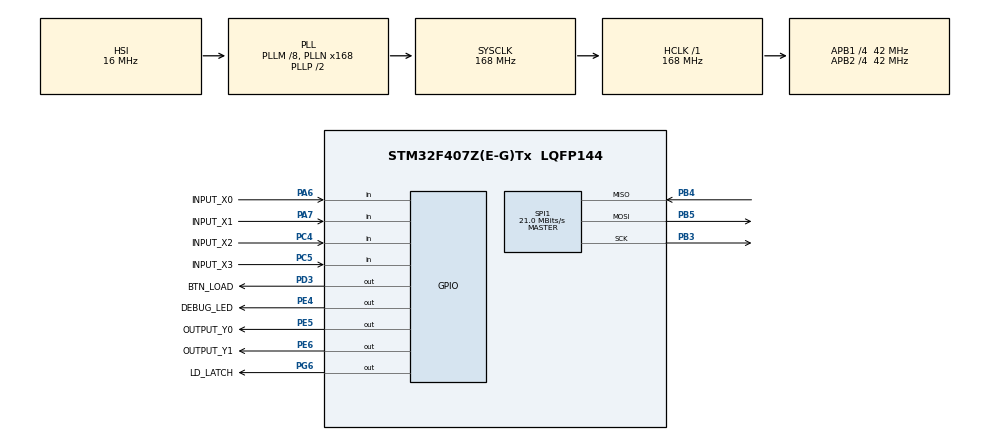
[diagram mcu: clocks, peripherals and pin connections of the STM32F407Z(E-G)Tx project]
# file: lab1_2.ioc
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Mcu.Family=STM32F4
Mcu.Name=STM32F407Z(E-G)Tx
Mcu.Package=LQFP144
NVIC.PriorityGroup=NVIC_PRIORITYGROUP_4
NVIC.TIM2_IRQn=true\:0\:0\:false\:false\:true\:true\:true
PA13.Mode=Serial_Wire
PA13.Signal=SYS_JTMS-SWDIO
PA14.Mode=Serial_Wire
PA14.Signal=SYS_JTCK-SWCLK
PA6.GPIO_Label=INPUT_X0
PA6.Signal=GPIO_Input
PA7.GPIO_Label=INPUT_X1
PA7.Signal=GPIO_Input
PB3.Mode=Full_Duplex_Master
PB3.Signal=SPI1_SCK
PB4.Mode=Full_Duplex_Master
PB4.Signal=SPI1_MISO
PB5.Mode=Full_Duplex_Master
PB5.Signal=SPI1_MOSI
PC4.GPIO_Label=INPUT_X2
PC4.Signal=GPIO_Input
PC5.GPIO_Label=INPUT_X3
PC5.Signal=GPIO_Input
PD3.GPIO_Label=BTN_LOAD
PD3.Signal=GPIO_Output
PE4.GPIO_Label=DEBUG_LED
PE4.Signal=GPIO_Output
PE5.GPIO_Label=OUTPUT_Y0
PE5.Signal=GPIO_Output
PE6.GPIO_Label=OUTPUT_Y1
PE6.Signal=GPIO_Output
PG6.GPIO_Label=LD_LATCH
PG6.Signal=GPIO_Output
PH0-OSC_IN.Mode=HSE-External-Oscillator
PH0-OSC_IN.Signal=RCC_OSC_IN
PH1-OSC_OUT.Mode=HSE-External-Oscillator
PH1-OSC_OUT.Signal=RCC_OSC_OUT
ProjectManager.HeapSize=0x200
ProjectManager.StackSize=0x400
ProjectManager.TargetToolchain=STM32CubeIDE
RCC.48MHZClocksFreq_Value=84000000
RCC.AHBFreq_Value=168000000
RCC.APB1CLKDivider=RCC_HCLK_DIV4
RCC.APB1Freq_Value=42000000
RCC.APB1TimFreq_Value=84000000
RCC.APB2CLKDivider=RCC_HCLK_DIV4
RCC.APB2Freq_Value=42000000
RCC.APB2TimFreq_Value=84000000
RCC.CortexFreq_Value=168000000
RCC.HCLKFreq_Value=168000000
RCC.HSE_VALUE=8000000
RCC.HSI_VALUE=16000000
RCC.LSE_VALUE=32768
RCC.PLLM=8
RCC.PLLN=168
RCC.SYSCLKFreq_VALUE=168000000
RCC.SYSCLKSource=RCC_SYSCLKSOURCE_PLLCLK
RCC.VCOOutputFreq_Value=336000000
SPI1.CalculateBaudRate=21.0 MBits/s
SPI1.Direction=SPI_DIRECTION_2LINES
SPI1.Mode=SPI_MODE_MASTER
SPI1.VirtualType=VM_MASTER
TIM2.Period=100-1
TIM2.Prescaler=840-1
VP_TIM2_VS_ClockSourceINT.Mode=Internal
board=custom

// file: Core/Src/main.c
/* USER CODE BEGIN Header */
/**
  ******************************************************************************
  * @file           : main.c
  * @brief          : Main program body
  ******************************************************************************
  * @attention
  *
  * <h2><center>&copy; Copyright (c) 2024 STMicroelectronics.
  * All rights reserved.</center></h2>
  *
  * This software component is licensed by ST under BSD 3-Clause license,
  * the "License"; You may not use this file except in compliance with the
  * License. You may obtain a copy of the License at:
  *                        opensource.org/licenses/BSD-3-Clause
  *
  ******************************************************************************
  */
/* USER CODE END Header */
#include "main.h"

/* USER CODE BEGIN Includes */
#include "software_timer.h"
#include "led7.h"
#include "spi.h"
#include "gpio.h"
#include "tim.h"
/* USER CODE END Includes */

/* USER CODE BEGIN PD */
#define ON 1
#define OFF 2
#define RED 3
#define GREEN 4
#define YELLOW 5
/* USER CODE END PD */

SPI_HandleTypeDef hspi1;

TIM_HandleTypeDef htim2;

void SystemClock_Config(void);

/* USER CODE BEGIN 0 */
int c0 = 0;
int c1 = 0;
int c2 = 0;
int cnt = 0;
int colon = 0;
int state = 0;

int time_counter = 1430;
uint8_t count_clock = 0;
uint8_t blink_counter = 0;
int hour = 0;
int minute = 0;

uint8_t state_y0;
uint8_t state_y1;
uint8_t traffic_light;

void debug_led(){
	c0 = (c0 + 1)%40;
	if (c0==0){
		HAL_GPIO_TogglePin(DEBUG_LED_GPIO_Port, DEBUG_LED_Pin);
	}
}

void led_y0(){
	switch(state_y0){
	case ON:
		c1 = (c1+1)%40;
		if (c1==0){
			state_y0 = OFF;
			HAL_GPIO_TogglePin(OUTPUT_Y0_GPIO_Port, OUTPUT_Y0_Pin);
		}
		break;
	case OFF:
		c1 = (c1 + 1)%80;
		if (c1==0){
			state_y0 = ON;
			HAL_GPIO_TogglePin(OUTPUT_Y0_GPIO_Port, OUTPUT_Y0_Pin);
		}break;
	default:
		c1=0;
		state_y0 = OFF;
		break;
	}
}
void led_y1(){
	switch(state_y1){
	case ON:
		c2 = (c2+1)%100;
		if (c2<=0){
			state_y1 = OFF;
			HAL_GPIO_TogglePin(OUTPUT_Y1_GPIO_Port, OUTPUT_Y1_Pin);
		}
		break;
	case OFF:
		c2 = (c2+1)%20;
		if (c2==0){
			state_y1 = ON;
			HAL_GPIO_TogglePin(OUTPUT_Y1_GPIO_Port, OUTPUT_Y1_Pin);

		}break;
	default:
		c2=0;
		state_y1 = OFF;
		break;
	}
}

void q1(){
	debug_led();
	led_y0();
	led_y1();
}

void q2(){
	switch(traffic_light){
	case RED:
		cnt = (cnt+1)%100;
		if (cnt == 0){
			traffic_light = GREEN;
			HAL_GPIO_TogglePin(DEBUG_LED_GPIO_Port, DEBUG_LED_Pin);	//red off
			HAL_GPIO_TogglePin(OUTPUT_Y0_GPIO_Port, OUTPUT_Y0_Pin); //green on
		}break;
	case GREEN:
		cnt = (cnt+1)%60;
		if (cnt == 0){
			traffic_light = YELLOW;
			HAL_GPIO_TogglePin(OUTPUT_Y0_GPIO_Port, OUTPUT_Y0_Pin); //green off
			HAL_GPIO_TogglePin(OUTPUT_Y1_GPIO_Port, OUTPUT_Y1_Pin); //y on
		}break;
	case YELLOW:
		cnt = (cnt+1)%20;
		if (cnt == 0){
			traffic_light = RED;
			HAL_GPIO_TogglePin(OUTPUT_Y1_GPIO_Port, OUTPUT_Y1_Pin);
			HAL_GPIO_TogglePin(DEBUG_LED_GPIO_Port, DEBUG_LED_Pin);
		}break;
	default:
		HAL_GPIO_WritePin(DEBUG_LED_GPIO_Port, DEBUG_LED_Pin, 1);
		HAL_GPIO_WritePin(OUTPUT_Y0_GPIO_Port, OUTPUT_Y0_Pin, 0);
		HAL_GPIO_WritePin(OUTPUT_Y1_GPIO_Port, OUTPUT_Y1_Pin, 0);
		traffic_light = RED;
		break;
	}

}

void colong(){
	colon = (colon+ 1)%10;
	if(colon==0) {
		led7_SetColon(state^=1);
	}
}

void q4(){
	count_clock = (count_clock+ 1)%(1000/50);
	if(count_clock == 0){
		time_counter++;
		time_counter %= 1440;
		minute = time_counter%60;
		hour = time_counter/60;
		led7_SetDigit(minute%10, 3, 0);
		led7_SetDigit(minute/10, 2, 0);
		led7_SetDigit(hour%10, 1, 0);
		led7_SetDigit(hour/10, 0, 0);
	}
	colong();
}
/* USER CODE END 0 */

int main(void)
{

  /* MCU Configuration--------------------------------------------------------*/

  /* Reset of all peripherals, Initializes the Flash interface and the Systick. */
  HAL_Init();

  /* Configure the system clock */
  SystemClock_Config();

  /* Initialize all configured peripherals */
  MX_GPIO_Init();
  MX_TIM2_Init();
  MX_SPI1_Init();
  /* USER CODE BEGIN 2 */
  system_init();

  /* USER CODE END 2 */

  /* Infinite loop */
  /* USER CODE BEGIN WHILE */
  while (1)
  {
	  while(!flag_timer2);
	  flag_timer2=0;

	  q4();
	  q2();
//	  test_colon();
    /* USER CODE END WHILE */

  }
}

void SystemClock_Config(void)
{
  RCC_OscInitTypeDef RCC_OscInitStruct = {0};
  RCC_ClkInitTypeDef RCC_ClkInitStruct = {0};

  /** Configure the main internal regulator output voltage
  */
  __HAL_RCC_PWR_CLK_ENABLE();
  __HAL_PWR_VOLTAGESCALING_CONFIG(PWR_REGULATOR_VOLTAGE_SCALE1);
  /** Initializes the RCC Oscillators according to the specified parameters
  * in the RCC_OscInitTypeDef structure.
  */
  RCC_OscInitStruct.OscillatorType = RCC_OSCILLATORTYPE_HSI;
  RCC_OscInitStruct.HSIState = RCC_HSI_ON;
  RCC_OscInitStruct.HSICalibrationValue = RCC_HSICALIBRATION_DEFAULT;
  RCC_OscInitStruct.PLL.PLLState = RCC_PLL_ON;
  RCC_OscInitStruct.PLL.PLLSource = RCC_PLLSOURCE_HSI;
  RCC_OscInitStruct.PLL.PLLM = 8;
  RCC_OscInitStruct.PLL.PLLN = 168;
  RCC_OscInitStruct.PLL.PLLP = RCC_PLLP_DIV2;
  RCC_OscInitStruct.PLL.PLLQ = 4;
  if (HAL_RCC_OscConfig(&RCC_OscInitStruct) != HAL_OK)
  {
    Error_Handler();
  }
  /** Initializes the CPU, AHB and APB buses clocks
  */
  RCC_ClkInitStruct.ClockType = RCC_CLOCKTYPE_HCLK|RCC_CLOCKTYPE_SYSCLK
                              |RCC_CLOCKTYPE_PCLK1|RCC_CLOCKTYPE_PCLK2;
  RCC_ClkInitStruct.SYSCLKSource = RCC_SYSCLKSOURCE_PLLCLK;
  RCC_ClkInitStruct.AHBCLKDivider = RCC_SYSCLK_DIV1;
  RCC_ClkInitStruct.APB1CLKDivider = RCC_HCLK_DIV4;
  RCC_ClkInitStruct.APB2CLKDivider = RCC_HCLK_DIV4;

  if (HAL_RCC_ClockConfig(&RCC_ClkInitStruct, FLASH_LATENCY_5) != HAL_OK)
  {
    Error_Handler();
  }
}

static void MX_SPI1_Init(void)
{

  /* SPI1 parameter configuration*/
  hspi1.Instance = SPI1;
  hspi1.Init.Mode = SPI_MODE_MASTER;
  hspi1.Init.Direction = SPI_DIRECTION_2LINES;
  hspi1.Init.DataSize = SPI_DATASIZE_8BIT;
  hspi1.Init.CLKPolarity = SPI_POLARITY_LOW;
  hspi1.Init.CLKPhase = SPI_PHASE_1EDGE;
  hspi1.Init.NSS = SPI_NSS_SOFT;
  hspi1.Init.BaudRatePrescaler = SPI_BAUDRATEPRESCALER_2;
  hspi1.Init.FirstBit = SPI_FIRSTBIT_MSB;
  hspi1.Init.TIMode = SPI_TIMODE_DISABLE;
  hspi1.Init.CRCCalculation = SPI_CRCCALCULATION_DISABLE;
  hspi1.Init.CRCPolynomial = 10;
  if (HAL_SPI_Init(&hspi1) != HAL_OK)
  {
    Error_Handler();
  }

}

static void MX_TIM2_Init(void)
{

  TIM_ClockConfigTypeDef sClockSourceConfig = {0};
  TIM_MasterConfigTypeDef sMasterConfig = {0};

  htim2.Instance = TIM2;
  htim2.Init.Prescaler = 840-1;
  htim2.Init.CounterMode = TIM_COUNTERMODE_UP;
  htim2.Init.Period = 100-1;
  htim2.Init.ClockDivision = TIM_CLOCKDIVISION_DIV1;
  htim2.Init.AutoReloadPreload = TIM_AUTORELOAD_PRELOAD_DISABLE;
  if (HAL_TIM_Base_Init(&htim2) != HAL_OK)
  {
    Error_Handler();
  }
  sClockSourceConfig.ClockSource = TIM_CLOCKSOURCE_INTERNAL;
  if (HAL_TIM_ConfigClockSource(&htim2, &sClockSourceConfig) != HAL_OK)
  {
    Error_Handler();
  }
  sMasterConfig.MasterOutputTrigger = TIM_TRGO_RESET;
  sMasterConfig.MasterSlaveMode = TIM_MASTERSLAVEMODE_DISABLE;
  if (HAL_TIMEx_MasterConfigSynchronization(&htim2, &sMasterConfig) != HAL_OK)
  {
    Error_Handler();
  }

}

static void MX_GPIO_Init(void)
{
  GPIO_InitTypeDef GPIO_InitStruct = {0};

  /* GPIO Ports Clock Enable */
  __HAL_RCC_GPIOE_CLK_ENABLE();
  __HAL_RCC_GPIOH_CLK_ENABLE();
  __HAL_RCC_GPIOA_CLK_ENABLE();
  __HAL_RCC_GPIOC_CLK_ENABLE();
  __HAL_RCC_GPIOG_CLK_ENABLE();
  __HAL_RCC_GPIOD_CLK_ENABLE();
  __HAL_RCC_GPIOB_CLK_ENABLE();

  /*Configure GPIO pin Output Level */
  HAL_GPIO_WritePin(GPIOE, DEBUG_LED_Pin|OUTPUT_Y0_Pin|OUTPUT_Y1_Pin, GPIO_PIN_RESET);

  /*Configure GPIO pin Output Level */
  HAL_GPIO_WritePin(LD_LATCH_GPIO_Port, LD_LATCH_Pin, GPIO_PIN_RESET);

  /*Configure GPIO pin Output Level */
  HAL_GPIO_WritePin(BTN_LOAD_GPIO_Port, BTN_LOAD_Pin, GPIO_PIN_RESET);

  /*Configure GPIO pins : DEBUG_LED_Pin OUTPUT_Y0_Pin OUTPUT_Y1_Pin */
  GPIO_InitStruct.Pin = DEBUG_LED_Pin|OUTPUT_Y0_Pin|OUTPUT_Y1_Pin;
  GPIO_InitStruct.Mode = GPIO_MODE_OUTPUT_PP;
  GPIO_InitStruct.Pull = GPIO_NOPULL;
  GPIO_InitStruct.Speed = GPIO_SPEED_FREQ_LOW;
  HAL_GPIO_Init(GPIOE, &GPIO_InitStruct);

  /*Configure GPIO pins : INPUT_X0_Pin INPUT_X1_Pin */
  GPIO_InitStruct.Pin = INPUT_X0_Pin|INPUT_X1_Pin;
  GPIO_InitStruct.Mode = GPIO_MODE_INPUT;
  GPIO_InitStruct.Pull = GPIO_NOPULL;
  HAL_GPIO_Init(GPIOA, &GPIO_InitStruct);

  /*Configure GPIO pins : INPUT_X2_Pin INPUT_X3_Pin */
  GPIO_InitStruct.Pin = INPUT_X2_Pin|INPUT_X3_Pin;
  GPIO_InitStruct.Mode = GPIO_MODE_INPUT;
  GPIO_InitStruct.Pull = GPIO_NOPULL;
  HAL_GPIO_Init(GPIOC, &GPIO_InitStruct);

  /*Configure GPIO pin : LD_LATCH_Pin */
  GPIO_InitStruct.Pin = LD_LATCH_Pin;
  GPIO_InitStruct.Mode = GPIO_MODE_OUTPUT_PP;
  GPIO_InitStruct.Pull = GPIO_NOPULL;
  GPIO_InitStruct.Speed = GPIO_SPEED_FREQ_LOW;
  HAL_GPIO_Init(LD_LATCH_GPIO_Port, &GPIO_InitStruct);

  /*Configure GPIO pin : BTN_LOAD_Pin */
  GPIO_InitStruct.Pin = BTN_LOAD_Pin;
  GPIO_InitStruct.Mode = GPIO_MODE_OUTPUT_PP;
  GPIO_InitStruct.Pull = GPIO_NOPULL;
  GPIO_InitStruct.Speed = GPIO_SPEED_FREQ_LOW;
  HAL_GPIO_Init(BTN_LOAD_GPIO_Port, &GPIO_InitStruct);

}

/* USER CODE BEGIN 4 */
void system_init(){
	  HAL_GPIO_WritePin(OUTPUT_Y0_GPIO_Port, OUTPUT_Y0_Pin, 0);
	  HAL_GPIO_WritePin(OUTPUT_Y1_GPIO_Port, OUTPUT_Y1_Pin, 0);
	  HAL_GPIO_WritePin(DEBUG_LED_GPIO_Port, DEBUG_LED_Pin, 0);
	  timer_init();
	  led7_init();
	  setTimer2(50);

	  setTimer1(2); //100hz
//	  setTimer1(250); //1hz
//	  setTimer1(10); //25hz
}
/* USER CODE END 4 */

void Error_Handler(void)
{
  __disable_irq();
  while (1)
  {
  }
}

/************************ (C) COPYRIGHT STMicroelectronics *****END OF FILE****/
